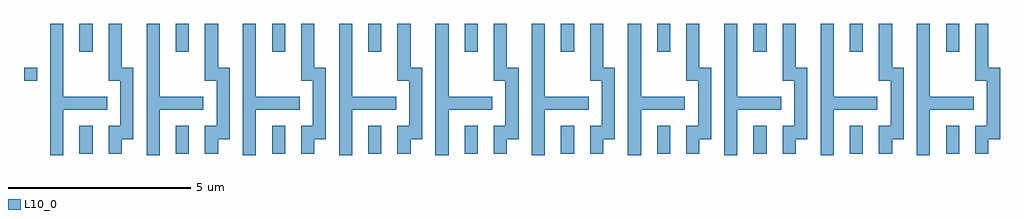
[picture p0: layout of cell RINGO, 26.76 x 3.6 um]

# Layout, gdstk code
import gdstk
lib = gdstk.Library(unit=1e-6, precision=1e-09)
def R(c, l, rs):  # rectangles x0, y0, x1, y1
    for r in rs: c.add(gdstk.rectangle(r[:2], r[2:], *l))
def P(c, l, *ps):  # polygons
    for p in ps: c.add(gdstk.Polygon(p, *l))
L10_0 = (10, 0)
L11_0 = (11, 0)
L12_0 = (12, 0)
L13_0 = (13, 0)
L14_0 = (14, 0)
L15_0 = (15, 0)
L16_0 = (16, 0)
L22_0 = (22, 0)
L23_0 = (23, 0)
L24_0 = (24, 0)
L25_0 = (25, 0)
L26_0 = (26, 0)

trans = lib.new_cell('TRANS')
R(trans, L10_0, [(-0.58,-0.38,-0.22,0.38), (0.22,-0.38,0.58,0.38)])

inv2 = lib.new_cell('INV2')
R(inv2, L10_0, [(-0.98,-0.42,-0.62,2.42), (-0.8,0.82,0.58,1.18)])
P(inv2, L10_0, [(0.8,0.02),(0.8,0.38),(0.94,0.38),(0.94,1.62),(0.62,1.62),(0.62,2.42),(0.98,2.42),(0.98,1.98),(1.3,1.98),(1.3,0.02)])
inv2.add(gdstk.FlexPath([(1.4,1.8),(-1.4,1.8)], 0, ends="flush", simple_path=True, layer=11, datatype=0))  # L11_0
inv2.add(gdstk.FlexPath([(-1.4,3.8),(1.4,3.8)], 0, ends="flush", simple_path=True, layer=11, datatype=0))  # L11_0
inv2.add(gdstk.FlexPath([(1.4,1.8),(-1.4,1.8)], 0, ends="flush", simple_path=True, layer=15, datatype=0))  # L15_0
inv2.add(gdstk.FlexPath([(1.4,1.8),(-1.4,1.8)], 0, ends="flush", simple_path=True, layer=16, datatype=0))  # L16_0
inv2.add(gdstk.FlexPath([(-0.18,2.42),(-0.18,3.18)], 0, ends="flush", simple_path=True, layer=22, datatype=0))  # L22_0
inv2.add(gdstk.FlexPath([(0.62,3.18),(0.98,3.18)], 0, ends="flush", simple_path=True, layer=22, datatype=0))  # L22_0
inv2.add(gdstk.FlexPath([(-0.62,3.18),(-0.62,1.18)], 0, ends="flush", simple_path=True, layer=22, datatype=0))  # L22_0
inv2.add(gdstk.FlexPath([(0.18,2.42),(-0.18,2.42)], 0, ends="flush", simple_path=True, layer=22, datatype=0))  # L22_0
inv2.add(gdstk.FlexPath([(-0.18,3.18),(0.18,3.18)], 0, ends="flush", simple_path=True, layer=22, datatype=0))  # L22_0
inv2.add(gdstk.FlexPath([(0.62,1.62),(0.62,3.18)], 0, ends="flush", simple_path=True, layer=22, datatype=0))  # L22_0
inv2.add(gdstk.FlexPath([(0.18,3.18),(0.18,2.42)], 0, ends="flush", simple_path=True, layer=22, datatype=0))  # L22_0
inv2.add(gdstk.FlexPath([(1.3,1.98),(1.3,0.02)], 0, ends="flush", simple_path=True, layer=22, datatype=0))  # L22_0
inv2.add(gdstk.FlexPath([(0.98,3.18),(0.98,1.98)], 0, ends="flush", simple_path=True, layer=22, datatype=0))  # L22_0
inv2.add(gdstk.FlexPath([(-0.98,3.18),(-0.62,3.18)], 0, ends="flush", simple_path=True, layer=22, datatype=0))  # L22_0
inv2.add(gdstk.FlexPath([(-0.98,-0.42),(-0.98,3.18)], 0, ends="flush", simple_path=True, layer=22, datatype=0))  # L22_0
inv2.add(gdstk.FlexPath([(0.98,1.98),(1.3,1.98)], 0, ends="flush", simple_path=True, layer=22, datatype=0))  # L22_0
inv2.add(gdstk.FlexPath([(0.98,3.18),(0.98,1.98)], 0, ends="flush", simple_path=True, layer=23, datatype=0))  # L23_0
inv2.add(gdstk.FlexPath([(-0.98,-0.42),(-0.98,3.18)], 0, ends="flush", simple_path=True, layer=23, datatype=0))  # L23_0
inv2.add(gdstk.FlexPath([(0.62,1.62),(0.62,3.18)], 0, ends="flush", simple_path=True, layer=23, datatype=0))  # L23_0
inv2.add(gdstk.FlexPath([(0.62,3.18),(0.98,3.18)], 0, ends="flush", simple_path=True, layer=23, datatype=0))  # L23_0
inv2.add(gdstk.FlexPath([(-0.18,2.42),(-0.18,3.18)], 0, ends="flush", simple_path=True, layer=23, datatype=0))  # L23_0
inv2.add(gdstk.FlexPath([(-0.62,3.18),(-0.62,1.18)], 0, ends="flush", simple_path=True, layer=23, datatype=0))  # L23_0
inv2.add(gdstk.FlexPath([(0.98,1.98),(1.3,1.98)], 0, ends="flush", simple_path=True, layer=23, datatype=0))  # L23_0
inv2.add(gdstk.FlexPath([(0.18,3.18),(0.18,2.42)], 0, ends="flush", simple_path=True, layer=23, datatype=0))  # L23_0
inv2.add(gdstk.FlexPath([(1.3,1.98),(1.3,0.02)], 0, ends="flush", simple_path=True, layer=23, datatype=0))  # L23_0
inv2.add(gdstk.FlexPath([(-0.98,3.18),(-0.62,3.18)], 0, ends="flush", simple_path=True, layer=23, datatype=0))  # L23_0
inv2.add(gdstk.FlexPath([(0.18,2.42),(-0.18,2.42)], 0, ends="flush", simple_path=True, layer=23, datatype=0))  # L23_0
inv2.add(gdstk.FlexPath([(-0.18,3.18),(0.18,3.18)], 0, ends="flush", simple_path=True, layer=23, datatype=0))  # L23_0
inv2.add(gdstk.FlexPath([(-0.18,2.42),(-0.18,3.18)], 0, ends="flush", simple_path=True, layer=24, datatype=0))  # L24_0
inv2.add(gdstk.FlexPath([(0.62,3.18),(0.98,3.18)], 0, ends="flush", simple_path=True, layer=24, datatype=0))  # L24_0
inv2.add(gdstk.FlexPath([(-0.62,3.18),(-0.62,1.18)], 0, ends="flush", simple_path=True, layer=24, datatype=0))  # L24_0
inv2.add(gdstk.FlexPath([(0.18,2.42),(-0.18,2.42)], 0, ends="flush", simple_path=True, layer=24, datatype=0))  # L24_0
inv2.add(gdstk.FlexPath([(-0.18,3.18),(0.18,3.18)], 0, ends="flush", simple_path=True, layer=24, datatype=0))  # L24_0
inv2.add(gdstk.FlexPath([(0.62,1.62),(0.62,3.18)], 0, ends="flush", simple_path=True, layer=24, datatype=0))  # L24_0
inv2.add(gdstk.FlexPath([(0.18,3.18),(0.18,2.42)], 0, ends="flush", simple_path=True, layer=24, datatype=0))  # L24_0
inv2.add(gdstk.FlexPath([(1.3,1.98),(1.3,0.02)], 0, ends="flush", simple_path=True, layer=24, datatype=0))  # L24_0
inv2.add(gdstk.FlexPath([(0.98,3.18),(0.98,1.98)], 0, ends="flush", simple_path=True, layer=24, datatype=0))  # L24_0
inv2.add(gdstk.FlexPath([(-0.98,3.18),(-0.62,3.18)], 0, ends="flush", simple_path=True, layer=24, datatype=0))  # L24_0
inv2.add(gdstk.FlexPath([(-0.98,-0.42),(-0.98,3.18)], 0, ends="flush", simple_path=True, layer=24, datatype=0))  # L24_0
inv2.add(gdstk.FlexPath([(0.98,1.98),(1.3,1.98)], 0, ends="flush", simple_path=True, layer=24, datatype=0))  # L24_0
inv2.add(gdstk.FlexPath([(0.62,3.18),(0.98,3.18)], 0, ends="flush", simple_path=True, layer=25, datatype=0))  # L25_0
inv2.add(gdstk.FlexPath([(0.98,3.18),(0.98,2.42)], 0, ends="flush", simple_path=True, layer=25, datatype=0))  # L25_0
inv2.add(gdstk.FlexPath([(0.98,2.42),(0.62,2.42)], 0, ends="flush", simple_path=True, layer=25, datatype=0))  # L25_0
inv2.add(gdstk.FlexPath([(0.18,2.42),(-0.18,2.42)], 0, ends="flush", simple_path=True, layer=25, datatype=0))  # L25_0
inv2.add(gdstk.FlexPath([(-0.18,3.18),(0.18,3.18)], 0, ends="flush", simple_path=True, layer=25, datatype=0))  # L25_0
inv2.add(gdstk.FlexPath([(-0.18,2.42),(-0.18,3.18)], 0, ends="flush", simple_path=True, layer=25, datatype=0))  # L25_0
inv2.add(gdstk.FlexPath([(-0.62,2.42),(-0.98,2.42)], 0, ends="flush", simple_path=True, layer=25, datatype=0))  # L25_0
inv2.add(gdstk.FlexPath([(-0.62,3.18),(-0.62,2.42)], 0, ends="flush", simple_path=True, layer=25, datatype=0))  # L25_0
inv2.add(gdstk.FlexPath([(0.62,1.62),(0.62,2.42)], 0, ends="flush", simple_path=True, layer=25, datatype=0))  # L25_0
inv2.add(gdstk.FlexPath([(0.98,1.98),(1.3,1.98)], 0, ends="flush", simple_path=True, layer=25, datatype=0))  # L25_0
inv2.add(gdstk.FlexPath([(-0.98,-0.42),(-0.98,2.42)], 0, ends="flush", simple_path=True, layer=25, datatype=0))  # L25_0
inv2.add(gdstk.FlexPath([(0.62,2.42),(0.98,2.42)], 0, ends="flush", simple_path=True, layer=25, datatype=0))  # L25_0
inv2.add(gdstk.FlexPath([(0.98,2.42),(0.98,1.98)], 0, ends="flush", simple_path=True, layer=25, datatype=0))  # L25_0
inv2.add(gdstk.FlexPath([(0.62,2.42),(0.62,3.18)], 0, ends="flush", simple_path=True, layer=25, datatype=0))  # L25_0
inv2.add(gdstk.FlexPath([(0.18,3.18),(0.18,2.42)], 0, ends="flush", simple_path=True, layer=25, datatype=0))  # L25_0
inv2.add(gdstk.FlexPath([(1.3,1.98),(1.3,0.02)], 0, ends="flush", simple_path=True, layer=25, datatype=0))  # L25_0
inv2.add(gdstk.FlexPath([(-0.62,2.42),(-0.62,-0.42)], 0, ends="flush", simple_path=True, layer=25, datatype=0))  # L25_0
inv2.add(gdstk.FlexPath([(-0.98,3.18),(-0.62,3.18)], 0, ends="flush", simple_path=True, layer=25, datatype=0))  # L25_0
inv2.add(gdstk.FlexPath([(-0.98,2.42),(-0.62,2.42)], 0, ends="flush", simple_path=True, layer=25, datatype=0))  # L25_0
inv2.add(gdstk.FlexPath([(-0.98,2.42),(-0.98,3.18)], 0, ends="flush", simple_path=True, layer=25, datatype=0))  # L25_0
inv2.add(gdstk.FlexPath([(0.62,3.18),(0.98,3.18)], 0, ends="flush", simple_path=True, layer=26, datatype=0))  # L26_0
inv2.add(gdstk.FlexPath([(0.98,3.18),(0.98,2.42)], 0, ends="flush", simple_path=True, layer=26, datatype=0))  # L26_0
inv2.add(gdstk.FlexPath([(0.98,2.42),(0.62,2.42)], 0, ends="flush", simple_path=True, layer=26, datatype=0))  # L26_0
inv2.add(gdstk.FlexPath([(0.18,2.42),(-0.18,2.42)], 0, ends="flush", simple_path=True, layer=26, datatype=0))  # L26_0
inv2.add(gdstk.FlexPath([(-0.18,3.18),(0.18,3.18)], 0, ends="flush", simple_path=True, layer=26, datatype=0))  # L26_0
inv2.add(gdstk.FlexPath([(-0.18,2.42),(-0.18,3.18)], 0, ends="flush", simple_path=True, layer=26, datatype=0))  # L26_0
inv2.add(gdstk.FlexPath([(-0.62,2.42),(-0.98,2.42)], 0, ends="flush", simple_path=True, layer=26, datatype=0))  # L26_0
inv2.add(gdstk.FlexPath([(-0.62,3.18),(-0.62,2.42)], 0, ends="flush", simple_path=True, layer=26, datatype=0))  # L26_0
inv2.add(gdstk.FlexPath([(0.62,1.62),(0.62,2.42)], 0, ends="flush", simple_path=True, layer=26, datatype=0))  # L26_0
inv2.add(gdstk.FlexPath([(0.98,1.98),(1.3,1.98)], 0, ends="flush", simple_path=True, layer=26, datatype=0))  # L26_0
inv2.add(gdstk.FlexPath([(-0.98,-0.42),(-0.98,2.42)], 0, ends="flush", simple_path=True, layer=26, datatype=0))  # L26_0
inv2.add(gdstk.FlexPath([(0.62,2.42),(0.98,2.42)], 0, ends="flush", simple_path=True, layer=26, datatype=0))  # L26_0
inv2.add(gdstk.FlexPath([(0.98,2.42),(0.98,1.98)], 0, ends="flush", simple_path=True, layer=26, datatype=0))  # L26_0
inv2.add(gdstk.FlexPath([(0.62,2.42),(0.62,3.18)], 0, ends="flush", simple_path=True, layer=26, datatype=0))  # L26_0
inv2.add(gdstk.FlexPath([(0.18,3.18),(0.18,2.42)], 0, ends="flush", simple_path=True, layer=26, datatype=0))  # L26_0
inv2.add(gdstk.FlexPath([(1.3,1.98),(1.3,0.02)], 0, ends="flush", simple_path=True, layer=26, datatype=0))  # L26_0
inv2.add(gdstk.FlexPath([(-0.62,2.42),(-0.62,-0.42)], 0, ends="flush", simple_path=True, layer=26, datatype=0))  # L26_0
inv2.add(gdstk.FlexPath([(-0.98,3.18),(-0.62,3.18)], 0, ends="flush", simple_path=True, layer=26, datatype=0))  # L26_0
inv2.add(gdstk.FlexPath([(-0.98,2.42),(-0.62,2.42)], 0, ends="flush", simple_path=True, layer=26, datatype=0))  # L26_0
inv2.add(gdstk.FlexPath([(-0.98,2.42),(-0.98,3.18)], 0, ends="flush", simple_path=True, layer=26, datatype=0))  # L26_0
inv2.add(gdstk.Reference(trans, (-0.4,0)))
inv2.add(gdstk.Reference(trans, (-0.4,2.8)))
inv2.add(gdstk.Reference(trans, (0.4,0), x_reflection=True))
inv2.add(gdstk.Reference(trans, (0.4,2.8), x_reflection=True))

ringo = lib.new_cell('RINGO')
R(ringo, L10_0, [(-1.7,1.62,-1.34,1.98)])
ringo.add(gdstk.FlexPath([(-1.4,1.8),(-1.4,3.8)], 0, ends="flush", simple_path=True, layer=11, datatype=0))  # L11_0
ringo.add(gdstk.FlexPath([(25.16,3.8),(25.16,1.8)], 0, ends="flush", simple_path=True, layer=11, datatype=0))  # L11_0
ringo.add(gdstk.FlexPath([(-1.4,1.8),(-1.4,3.8)], 0, ends="flush", simple_path=True, layer=12, datatype=0))  # L12_0
ringo.add(gdstk.FlexPath([(25.16,1.8),(-1.4,1.8)], 0, ends="flush", simple_path=True, layer=12, datatype=0))  # L12_0
ringo.add(gdstk.FlexPath([(-1.4,1.8),(-1.4,3.8)], 0, ends="flush", simple_path=True, layer=13, datatype=0))  # L13_0
ringo.add(gdstk.FlexPath([(25.16,1.8),(-1.4,1.8)], 0, ends="flush", simple_path=True, layer=13, datatype=0))  # L13_0
ringo.add(gdstk.FlexPath([(-1.4,1.8),(-1.4,3.8)], 0, ends="flush", simple_path=True, layer=14, datatype=0))  # L14_0
ringo.add(gdstk.FlexPath([(25.16,1.8),(-1.4,1.8)], 0, ends="flush", simple_path=True, layer=14, datatype=0))  # L14_0
ringo.add(gdstk.FlexPath([(4.04,1.8),(1.24,1.8)], 0, ends="flush", simple_path=True, layer=15, datatype=0))  # L15_0
ringo.add(gdstk.FlexPath([(1.24,1.8),(1.24,3.8)], 0, ends="flush", simple_path=True, layer=15, datatype=0))  # L15_0
ringo.add(gdstk.FlexPath([(1.4,1.8),(-1.4,1.8)], 0, ends="flush", simple_path=True, layer=15, datatype=0))  # L15_0
ringo.add(gdstk.FlexPath([(3.88,1.8),(3.88,3.8)], 0, ends="flush", simple_path=True, layer=15, datatype=0))  # L15_0
ringo.add(gdstk.FlexPath([(9.32,1.8),(6.52,1.8)], 0, ends="flush", simple_path=True, layer=15, datatype=0))  # L15_0
ringo.add(gdstk.FlexPath([(6.52,1.8),(6.52,3.8)], 0, ends="flush", simple_path=True, layer=15, datatype=0))  # L15_0
ringo.add(gdstk.FlexPath([(22.36,1.8),(22.36,3.8)], 0, ends="flush", simple_path=True, layer=15, datatype=0))  # L15_0
ringo.add(gdstk.FlexPath([(22.52,1.8),(19.72,1.8)], 0, ends="flush", simple_path=True, layer=15, datatype=0))  # L15_0
ringo.add(gdstk.FlexPath([(25.16,1.8),(22.36,1.8)], 0, ends="flush", simple_path=True, layer=15, datatype=0))  # L15_0
ringo.add(gdstk.FlexPath([(19.72,1.8),(19.72,3.8)], 0, ends="flush", simple_path=True, layer=15, datatype=0))  # L15_0
ringo.add(gdstk.FlexPath([(14.44,1.8),(14.44,3.8)], 0, ends="flush", simple_path=True, layer=15, datatype=0))  # L15_0
ringo.add(gdstk.FlexPath([(17.08,1.8),(17.08,3.8)], 0, ends="flush", simple_path=True, layer=15, datatype=0))  # L15_0
ringo.add(gdstk.FlexPath([(19.88,1.8),(17.08,1.8)], 0, ends="flush", simple_path=True, layer=15, datatype=0))  # L15_0
ringo.add(gdstk.FlexPath([(17.24,1.8),(14.44,1.8)], 0, ends="flush", simple_path=True, layer=15, datatype=0))  # L15_0
ringo.add(gdstk.FlexPath([(-1.4,1.8),(-1.4,3.8)], 0, ends="flush", simple_path=True, layer=15, datatype=0))  # L15_0
ringo.add(gdstk.FlexPath([(6.68,1.8),(3.88,1.8)], 0, ends="flush", simple_path=True, layer=15, datatype=0))  # L15_0
ringo.add(gdstk.FlexPath([(11.8,1.8),(11.8,3.8)], 0, ends="flush", simple_path=True, layer=15, datatype=0))  # L15_0
ringo.add(gdstk.FlexPath([(14.6,1.8),(11.8,1.8)], 0, ends="flush", simple_path=True, layer=15, datatype=0))  # L15_0
ringo.add(gdstk.FlexPath([(9.16,1.8),(9.16,3.8)], 0, ends="flush", simple_path=True, layer=15, datatype=0))  # L15_0
ringo.add(gdstk.FlexPath([(11.96,1.8),(9.16,1.8)], 0, ends="flush", simple_path=True, layer=15, datatype=0))  # L15_0
ringo.add(gdstk.FlexPath([(4.04,1.8),(1.24,1.8)], 0, ends="flush", simple_path=True, layer=16, datatype=0))  # L16_0
ringo.add(gdstk.FlexPath([(1.24,1.8),(1.24,3.8)], 0, ends="flush", simple_path=True, layer=16, datatype=0))  # L16_0
ringo.add(gdstk.FlexPath([(1.4,1.8),(-1.4,1.8)], 0, ends="flush", simple_path=True, layer=16, datatype=0))  # L16_0
ringo.add(gdstk.FlexPath([(3.88,1.8),(3.88,3.8)], 0, ends="flush", simple_path=True, layer=16, datatype=0))  # L16_0
ringo.add(gdstk.FlexPath([(9.32,1.8),(6.52,1.8)], 0, ends="flush", simple_path=True, layer=16, datatype=0))  # L16_0
ringo.add(gdstk.FlexPath([(6.52,1.8),(6.52,3.8)], 0, ends="flush", simple_path=True, layer=16, datatype=0))  # L16_0
ringo.add(gdstk.FlexPath([(22.36,1.8),(22.36,3.8)], 0, ends="flush", simple_path=True, layer=16, datatype=0))  # L16_0
ringo.add(gdstk.FlexPath([(22.52,1.8),(19.72,1.8)], 0, ends="flush", simple_path=True, layer=16, datatype=0))  # L16_0
ringo.add(gdstk.FlexPath([(25.16,1.8),(22.36,1.8)], 0, ends="flush", simple_path=True, layer=16, datatype=0))  # L16_0
ringo.add(gdstk.FlexPath([(19.72,1.8),(19.72,3.8)], 0, ends="flush", simple_path=True, layer=16, datatype=0))  # L16_0
ringo.add(gdstk.FlexPath([(14.44,1.8),(14.44,3.8)], 0, ends="flush", simple_path=True, layer=16, datatype=0))  # L16_0
ringo.add(gdstk.FlexPath([(17.08,1.8),(17.08,3.8)], 0, ends="flush", simple_path=True, layer=16, datatype=0))  # L16_0
ringo.add(gdstk.FlexPath([(19.88,1.8),(17.08,1.8)], 0, ends="flush", simple_path=True, layer=16, datatype=0))  # L16_0
ringo.add(gdstk.FlexPath([(17.24,1.8),(14.44,1.8)], 0, ends="flush", simple_path=True, layer=16, datatype=0))  # L16_0
ringo.add(gdstk.FlexPath([(-1.4,1.8),(-1.4,3.8)], 0, ends="flush", simple_path=True, layer=16, datatype=0))  # L16_0
ringo.add(gdstk.FlexPath([(6.68,1.8),(3.88,1.8)], 0, ends="flush", simple_path=True, layer=16, datatype=0))  # L16_0
ringo.add(gdstk.FlexPath([(11.8,1.8),(11.8,3.8)], 0, ends="flush", simple_path=True, layer=16, datatype=0))  # L16_0
ringo.add(gdstk.FlexPath([(14.6,1.8),(11.8,1.8)], 0, ends="flush", simple_path=True, layer=16, datatype=0))  # L16_0
ringo.add(gdstk.FlexPath([(9.16,1.8),(9.16,3.8)], 0, ends="flush", simple_path=True, layer=16, datatype=0))  # L16_0
ringo.add(gdstk.FlexPath([(11.96,1.8),(9.16,1.8)], 0, ends="flush", simple_path=True, layer=16, datatype=0))  # L16_0
ringo.add(gdstk.FlexPath([(0.98,1.98),(1.3,1.98)], 0, ends="flush", simple_path=True, layer=22, datatype=0))  # L22_0
ringo.add(gdstk.FlexPath([(3.62,1.98),(3.94,1.98)], 0, ends="flush", simple_path=True, layer=22, datatype=0))  # L22_0
ringo.add(gdstk.FlexPath([(3.94,1.98),(3.94,0.02)], 0, ends="flush", simple_path=True, layer=22, datatype=0))  # L22_0
ringo.add(gdstk.FlexPath([(6.26,1.98),(6.58,1.98)], 0, ends="flush", simple_path=True, layer=22, datatype=0))  # L22_0
ringo.add(gdstk.FlexPath([(8.9,1.98),(9.22,1.98)], 0, ends="flush", simple_path=True, layer=22, datatype=0))  # L22_0
ringo.add(gdstk.FlexPath([(9.22,1.98),(9.22,0.02)], 0, ends="flush", simple_path=True, layer=22, datatype=0))  # L22_0
ringo.add(gdstk.FlexPath([(1.3,1.98),(1.3,0.02)], 0, ends="flush", simple_path=True, layer=22, datatype=0))  # L22_0
ringo.add(gdstk.FlexPath([(-1.34,1.98),(-1.34,1.62)], 0, ends="flush", simple_path=True, layer=22, datatype=0))  # L22_0
ringo.add(gdstk.FlexPath([(19.78,1.98),(19.78,0.02)], 0, ends="flush", simple_path=True, layer=22, datatype=0))  # L22_0
ringo.add(gdstk.FlexPath([(-1.7,1.98),(-1.34,1.98)], 0, ends="flush", simple_path=True, layer=22, datatype=0))  # L22_0
ringo.add(gdstk.FlexPath([(22.42,1.98),(22.42,0.02)], 0, ends="flush", simple_path=True, layer=22, datatype=0))  # L22_0
ringo.add(gdstk.FlexPath([(14.5,1.98),(14.5,0.02)], 0, ends="flush", simple_path=True, layer=22, datatype=0))  # L22_0
ringo.add(gdstk.FlexPath([(22.1,1.98),(22.42,1.98)], 0, ends="flush", simple_path=True, layer=22, datatype=0))  # L22_0
ringo.add(gdstk.FlexPath([(19.46,1.98),(19.78,1.98)], 0, ends="flush", simple_path=True, layer=22, datatype=0))  # L22_0
ringo.add(gdstk.FlexPath([(14.18,1.98),(14.5,1.98)], 0, ends="flush", simple_path=True, layer=22, datatype=0))  # L22_0
ringo.add(gdstk.FlexPath([(17.14,1.98),(17.14,0.02)], 0, ends="flush", simple_path=True, layer=22, datatype=0))  # L22_0
ringo.add(gdstk.FlexPath([(16.82,1.98),(17.14,1.98)], 0, ends="flush", simple_path=True, layer=22, datatype=0))  # L22_0
ringo.add(gdstk.FlexPath([(11.54,1.98),(11.86,1.98)], 0, ends="flush", simple_path=True, layer=22, datatype=0))  # L22_0
ringo.add(gdstk.FlexPath([(6.58,1.98),(6.58,0.02)], 0, ends="flush", simple_path=True, layer=22, datatype=0))  # L22_0
ringo.add(gdstk.FlexPath([(11.86,1.98),(11.86,0.02)], 0, ends="flush", simple_path=True, layer=22, datatype=0))  # L22_0
ringo.add(gdstk.FlexPath([(0.98,1.98),(1.3,1.98)], 0, ends="flush", simple_path=True, layer=23, datatype=0))  # L23_0
ringo.add(gdstk.FlexPath([(3.94,1.98),(3.94,0.02)], 0, ends="flush", simple_path=True, layer=23, datatype=0))  # L23_0
ringo.add(gdstk.FlexPath([(3.62,1.98),(3.94,1.98)], 0, ends="flush", simple_path=True, layer=23, datatype=0))  # L23_0
ringo.add(gdstk.FlexPath([(6.26,1.98),(6.58,1.98)], 0, ends="flush", simple_path=True, layer=23, datatype=0))  # L23_0
ringo.add(gdstk.FlexPath([(9.22,1.98),(9.22,0.02)], 0, ends="flush", simple_path=True, layer=23, datatype=0))  # L23_0
ringo.add(gdstk.FlexPath([(8.9,1.98),(9.22,1.98)], 0, ends="flush", simple_path=True, layer=23, datatype=0))  # L23_0
ringo.add(gdstk.FlexPath([(1.3,1.98),(1.3,0.02)], 0, ends="flush", simple_path=True, layer=23, datatype=0))  # L23_0
ringo.add(gdstk.FlexPath([(-1.34,1.98),(-1.34,1.62)], 0, ends="flush", simple_path=True, layer=23, datatype=0))  # L23_0
ringo.add(gdstk.FlexPath([(19.78,1.98),(19.78,0.02)], 0, ends="flush", simple_path=True, layer=23, datatype=0))  # L23_0
ringo.add(gdstk.FlexPath([(-1.7,1.98),(-1.34,1.98)], 0, ends="flush", simple_path=True, layer=23, datatype=0))  # L23_0
ringo.add(gdstk.FlexPath([(22.1,1.98),(22.42,1.98)], 0, ends="flush", simple_path=True, layer=23, datatype=0))  # L23_0
ringo.add(gdstk.FlexPath([(19.46,1.98),(19.78,1.98)], 0, ends="flush", simple_path=True, layer=23, datatype=0))  # L23_0
ringo.add(gdstk.FlexPath([(14.18,1.98),(14.5,1.98)], 0, ends="flush", simple_path=True, layer=23, datatype=0))  # L23_0
ringo.add(gdstk.FlexPath([(22.42,1.98),(22.42,0.02)], 0, ends="flush", simple_path=True, layer=23, datatype=0))  # L23_0
ringo.add(gdstk.FlexPath([(14.5,1.98),(14.5,0.02)], 0, ends="flush", simple_path=True, layer=23, datatype=0))  # L23_0
ringo.add(gdstk.FlexPath([(11.54,1.98),(11.86,1.98)], 0, ends="flush", simple_path=True, layer=23, datatype=0))  # L23_0
ringo.add(gdstk.FlexPath([(16.82,1.98),(17.14,1.98)], 0, ends="flush", simple_path=True, layer=23, datatype=0))  # L23_0
ringo.add(gdstk.FlexPath([(17.14,1.98),(17.14,0.02)], 0, ends="flush", simple_path=True, layer=23, datatype=0))  # L23_0
ringo.add(gdstk.FlexPath([(6.58,1.98),(6.58,0.02)], 0, ends="flush", simple_path=True, layer=23, datatype=0))  # L23_0
ringo.add(gdstk.FlexPath([(11.86,1.98),(11.86,0.02)], 0, ends="flush", simple_path=True, layer=23, datatype=0))  # L23_0
ringo.add(gdstk.FlexPath([(0.98,1.98),(1.3,1.98)], 0, ends="flush", simple_path=True, layer=24, datatype=0))  # L24_0
ringo.add(gdstk.FlexPath([(3.62,1.98),(3.94,1.98)], 0, ends="flush", simple_path=True, layer=24, datatype=0))  # L24_0
ringo.add(gdstk.FlexPath([(3.94,1.98),(3.94,0.02)], 0, ends="flush", simple_path=True, layer=24, datatype=0))  # L24_0
ringo.add(gdstk.FlexPath([(6.26,1.98),(6.58,1.98)], 0, ends="flush", simple_path=True, layer=24, datatype=0))  # L24_0
ringo.add(gdstk.FlexPath([(8.9,1.98),(9.22,1.98)], 0, ends="flush", simple_path=True, layer=24, datatype=0))  # L24_0
ringo.add(gdstk.FlexPath([(9.22,1.98),(9.22,0.02)], 0, ends="flush", simple_path=True, layer=24, datatype=0))  # L24_0
ringo.add(gdstk.FlexPath([(1.3,1.98),(1.3,0.02)], 0, ends="flush", simple_path=True, layer=24, datatype=0))  # L24_0
ringo.add(gdstk.FlexPath([(-1.34,1.98),(-1.34,1.62)], 0, ends="flush", simple_path=True, layer=24, datatype=0))  # L24_0
ringo.add(gdstk.FlexPath([(19.78,1.98),(19.78,0.02)], 0, ends="flush", simple_path=True, layer=24, datatype=0))  # L24_0
ringo.add(gdstk.FlexPath([(-1.7,1.98),(-1.34,1.98)], 0, ends="flush", simple_path=True, layer=24, datatype=0))  # L24_0
ringo.add(gdstk.FlexPath([(22.42,1.98),(22.42,0.02)], 0, ends="flush", simple_path=True, layer=24, datatype=0))  # L24_0
ringo.add(gdstk.FlexPath([(14.5,1.98),(14.5,0.02)], 0, ends="flush", simple_path=True, layer=24, datatype=0))  # L24_0
ringo.add(gdstk.FlexPath([(22.1,1.98),(22.42,1.98)], 0, ends="flush", simple_path=True, layer=24, datatype=0))  # L24_0
ringo.add(gdstk.FlexPath([(19.46,1.98),(19.78,1.98)], 0, ends="flush", simple_path=True, layer=24, datatype=0))  # L24_0
ringo.add(gdstk.FlexPath([(14.18,1.98),(14.5,1.98)], 0, ends="flush", simple_path=True, layer=24, datatype=0))  # L24_0
ringo.add(gdstk.FlexPath([(17.14,1.98),(17.14,0.02)], 0, ends="flush", simple_path=True, layer=24, datatype=0))  # L24_0
ringo.add(gdstk.FlexPath([(16.82,1.98),(17.14,1.98)], 0, ends="flush", simple_path=True, layer=24, datatype=0))  # L24_0
ringo.add(gdstk.FlexPath([(11.54,1.98),(11.86,1.98)], 0, ends="flush", simple_path=True, layer=24, datatype=0))  # L24_0
ringo.add(gdstk.FlexPath([(6.58,1.98),(6.58,0.02)], 0, ends="flush", simple_path=True, layer=24, datatype=0))  # L24_0
ringo.add(gdstk.FlexPath([(11.86,1.98),(11.86,0.02)], 0, ends="flush", simple_path=True, layer=24, datatype=0))  # L24_0
ringo.add(gdstk.FlexPath([(0.98,1.98),(1.3,1.98)], 0, ends="flush", simple_path=True, layer=25, datatype=0))  # L25_0
ringo.add(gdstk.FlexPath([(3.62,1.98),(3.94,1.98)], 0, ends="flush", simple_path=True, layer=25, datatype=0))  # L25_0
ringo.add(gdstk.FlexPath([(3.94,1.98),(3.94,0.02)], 0, ends="flush", simple_path=True, layer=25, datatype=0))  # L25_0
ringo.add(gdstk.FlexPath([(6.26,1.98),(6.58,1.98)], 0, ends="flush", simple_path=True, layer=25, datatype=0))  # L25_0
ringo.add(gdstk.FlexPath([(8.9,1.98),(9.22,1.98)], 0, ends="flush", simple_path=True, layer=25, datatype=0))  # L25_0
ringo.add(gdstk.FlexPath([(9.22,1.98),(9.22,0.02)], 0, ends="flush", simple_path=True, layer=25, datatype=0))  # L25_0
ringo.add(gdstk.FlexPath([(1.3,1.98),(1.3,0.02)], 0, ends="flush", simple_path=True, layer=25, datatype=0))  # L25_0
ringo.add(gdstk.FlexPath([(-1.34,1.98),(-1.34,1.62)], 0, ends="flush", simple_path=True, layer=25, datatype=0))  # L25_0
ringo.add(gdstk.FlexPath([(19.78,1.98),(19.78,0.02)], 0, ends="flush", simple_path=True, layer=25, datatype=0))  # L25_0
ringo.add(gdstk.FlexPath([(-1.7,1.98),(-1.34,1.98)], 0, ends="flush", simple_path=True, layer=25, datatype=0))  # L25_0
ringo.add(gdstk.FlexPath([(22.42,1.98),(22.42,0.02)], 0, ends="flush", simple_path=True, layer=25, datatype=0))  # L25_0
ringo.add(gdstk.FlexPath([(14.5,1.98),(14.5,0.02)], 0, ends="flush", simple_path=True, layer=25, datatype=0))  # L25_0
ringo.add(gdstk.FlexPath([(22.1,1.98),(22.42,1.98)], 0, ends="flush", simple_path=True, layer=25, datatype=0))  # L25_0
ringo.add(gdstk.FlexPath([(19.46,1.98),(19.78,1.98)], 0, ends="flush", simple_path=True, layer=25, datatype=0))  # L25_0
ringo.add(gdstk.FlexPath([(14.18,1.98),(14.5,1.98)], 0, ends="flush", simple_path=True, layer=25, datatype=0))  # L25_0
ringo.add(gdstk.FlexPath([(17.14,1.98),(17.14,0.02)], 0, ends="flush", simple_path=True, layer=25, datatype=0))  # L25_0
ringo.add(gdstk.FlexPath([(16.82,1.98),(17.14,1.98)], 0, ends="flush", simple_path=True, layer=25, datatype=0))  # L25_0
ringo.add(gdstk.FlexPath([(11.54,1.98),(11.86,1.98)], 0, ends="flush", simple_path=True, layer=25, datatype=0))  # L25_0
ringo.add(gdstk.FlexPath([(6.58,1.98),(6.58,0.02)], 0, ends="flush", simple_path=True, layer=25, datatype=0))  # L25_0
ringo.add(gdstk.FlexPath([(11.86,1.98),(11.86,0.02)], 0, ends="flush", simple_path=True, layer=25, datatype=0))  # L25_0
ringo.add(gdstk.FlexPath([(0.98,1.98),(1.3,1.98)], 0, ends="flush", simple_path=True, layer=26, datatype=0))  # L26_0
ringo.add(gdstk.FlexPath([(3.62,1.98),(3.94,1.98)], 0, ends="flush", simple_path=True, layer=26, datatype=0))  # L26_0
ringo.add(gdstk.FlexPath([(3.94,1.98),(3.94,0.02)], 0, ends="flush", simple_path=True, layer=26, datatype=0))  # L26_0
ringo.add(gdstk.FlexPath([(6.26,1.98),(6.58,1.98)], 0, ends="flush", simple_path=True, layer=26, datatype=0))  # L26_0
ringo.add(gdstk.FlexPath([(8.9,1.98),(9.22,1.98)], 0, ends="flush", simple_path=True, layer=26, datatype=0))  # L26_0
ringo.add(gdstk.FlexPath([(9.22,1.98),(9.22,0.02)], 0, ends="flush", simple_path=True, layer=26, datatype=0))  # L26_0
ringo.add(gdstk.FlexPath([(1.3,1.98),(1.3,0.02)], 0, ends="flush", simple_path=True, layer=26, datatype=0))  # L26_0
ringo.add(gdstk.FlexPath([(-1.34,1.98),(-1.34,1.62)], 0, ends="flush", simple_path=True, layer=26, datatype=0))  # L26_0
ringo.add(gdstk.FlexPath([(19.78,1.98),(19.78,0.02)], 0, ends="flush", simple_path=True, layer=26, datatype=0))  # L26_0
ringo.add(gdstk.FlexPath([(-1.7,1.98),(-1.34,1.98)], 0, ends="flush", simple_path=True, layer=26, datatype=0))  # L26_0
ringo.add(gdstk.FlexPath([(22.42,1.98),(22.42,0.02)], 0, ends="flush", simple_path=True, layer=26, datatype=0))  # L26_0
ringo.add(gdstk.FlexPath([(14.5,1.98),(14.5,0.02)], 0, ends="flush", simple_path=True, layer=26, datatype=0))  # L26_0
ringo.add(gdstk.FlexPath([(22.1,1.98),(22.42,1.98)], 0, ends="flush", simple_path=True, layer=26, datatype=0))  # L26_0
ringo.add(gdstk.FlexPath([(19.46,1.98),(19.78,1.98)], 0, ends="flush", simple_path=True, layer=26, datatype=0))  # L26_0
ringo.add(gdstk.FlexPath([(14.18,1.98),(14.5,1.98)], 0, ends="flush", simple_path=True, layer=26, datatype=0))  # L26_0
ringo.add(gdstk.FlexPath([(17.14,1.98),(17.14,0.02)], 0, ends="flush", simple_path=True, layer=26, datatype=0))  # L26_0
ringo.add(gdstk.FlexPath([(16.82,1.98),(17.14,1.98)], 0, ends="flush", simple_path=True, layer=26, datatype=0))  # L26_0
ringo.add(gdstk.FlexPath([(11.54,1.98),(11.86,1.98)], 0, ends="flush", simple_path=True, layer=26, datatype=0))  # L26_0
ringo.add(gdstk.FlexPath([(6.58,1.98),(6.58,0.02)], 0, ends="flush", simple_path=True, layer=26, datatype=0))  # L26_0
ringo.add(gdstk.FlexPath([(11.86,1.98),(11.86,0.02)], 0, ends="flush", simple_path=True, layer=26, datatype=0))  # L26_0
ringo.add(gdstk.Reference(inv2, (0,0)))
ringo.add(gdstk.Reference(inv2, (2.64,0)))
ringo.add(gdstk.Reference(inv2, (5.28,0)))
ringo.add(gdstk.Reference(inv2, (7.92,0)))
ringo.add(gdstk.Reference(inv2, (10.56,0)))
ringo.add(gdstk.Reference(inv2, (13.2,0)))
ringo.add(gdstk.Reference(inv2, (15.84,0)))
ringo.add(gdstk.Reference(inv2, (18.48,0)))
ringo.add(gdstk.Reference(inv2, (21.12,0)))
ringo.add(gdstk.Reference(inv2, (23.76,0)))

lib.write_gds('RINGO.gds')
